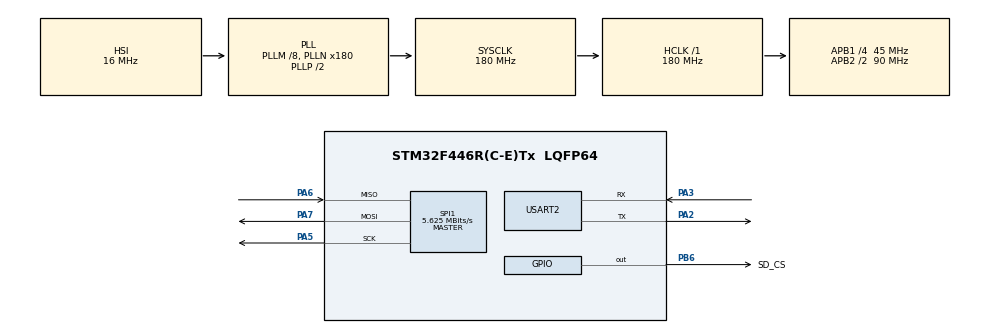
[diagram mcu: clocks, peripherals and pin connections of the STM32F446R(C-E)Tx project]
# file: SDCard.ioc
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FATFS._CODE_PAGE=949
FATFS._MAX_SS=4096
FATFS._USE_LFN=1
Mcu.Family=STM32F4
Mcu.Name=STM32F446R(C-E)Tx
Mcu.Package=LQFP64
NVIC.PriorityGroup=NVIC_PRIORITYGROUP_4
PA13.Mode=Serial_Wire
PA13.Signal=SYS_JTMS-SWDIO
PA14.Mode=Serial_Wire
PA14.Signal=SYS_JTCK-SWCLK
PA2.Mode=Asynchronous
PA2.Signal=USART2_TX
PA3.Mode=Asynchronous
PA3.Signal=USART2_RX
PA5.GPIO_PuPd=GPIO_NOPULL
PA5.Mode=Full_Duplex_Master
PA5.Signal=SPI1_SCK
PA6.GPIO_PuPd=GPIO_NOPULL
PA6.Mode=Full_Duplex_Master
PA6.Signal=SPI1_MISO
PA7.GPIO_PuPd=GPIO_NOPULL
PA7.Mode=Full_Duplex_Master
PA7.Signal=SPI1_MOSI
PB6.GPIO_Label=SD_CS
PB6.GPIO_PuPd=GPIO_NOPULL
PB6.PinState=GPIO_PIN_SET
PB6.Signal=GPIO_Output
PH0-OSC_IN.Mode=HSE-External-Oscillator
PH0-OSC_IN.Signal=RCC_OSC_IN
PH1-OSC_OUT.Mode=HSE-External-Oscillator
PH1-OSC_OUT.Signal=RCC_OSC_OUT
ProjectManager.HeapSize=0x200
ProjectManager.StackSize=0x400
ProjectManager.TargetToolchain=STM32CubeIDE
RCC.AHBFreq_Value=180000000
RCC.APB1CLKDivider=RCC_HCLK_DIV4
RCC.APB1Freq_Value=45000000
RCC.APB1TimFreq_Value=90000000
RCC.APB2CLKDivider=RCC_HCLK_DIV2
RCC.APB2Freq_Value=90000000
RCC.APB2TimFreq_Value=180000000
RCC.CortexFreq_Value=180000000
RCC.HCLKFreq_Value=180000000
RCC.HSE_VALUE=8000000
RCC.PLLM=8
RCC.PLLN=180
RCC.SYSCLKFreq_VALUE=180000000
RCC.SYSCLKSource=RCC_SYSCLKSOURCE_PLLCLK
RCC.USBFreq_Value=180000000
RCC.VCOOutputFreq_Value=360000000
SPI1.BaudRatePrescaler=SPI_BAUDRATEPRESCALER_16
SPI1.CalculateBaudRate=5.625 MBits/s
SPI1.Direction=SPI_DIRECTION_2LINES
SPI1.Mode=SPI_MODE_MASTER
SPI1.VirtualType=VM_MASTER
USART2.VirtualMode=VM_ASYNC
VP_FATFS_VS_Generic.Mode=User_defined
board=custom

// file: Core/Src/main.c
/* USER CODE BEGIN Header */
/**
  ******************************************************************************
  * @file           : main.c
  * @brief          : Main program body
  ******************************************************************************
  * @attention
  *
  * Copyright (c) 2022 STMicroelectronics.
  * All rights reserved.
  *
  * This software is licensed under terms that can be found in the LICENSE file
  * in the root directory of this software component.
  * If no LICENSE file comes with this software, it is provided AS-IS.
  *
  ******************************************************************************
  */
/* USER CODE END Header */
#include "main.h"
#include "fatfs.h"

/* USER CODE BEGIN Includes */
#include "string.h"
#include "stdio.h"
#include "stdarg.h"
#include "stdlib.h"
/* USER CODE END Includes */

 SPI_HandleTypeDef hspi1;

UART_HandleTypeDef huart2;

void SystemClock_Config(void);
static void MX_GPIO_Init(void);
static void MX_SPI1_Init(void);
static void MX_USART2_UART_Init(void);

/* USER CODE BEGIN 0 */
FATFS fs;  // file system
FIL fil; // File
FILINFO fno;
FRESULT fresult;  // result
UINT br, bw;  // File read/write count

/**** capacity related *****/
FATFS *pfs;
DWORD fre_clust;
uint32_t total, free_space;

#define BUFFER_SIZE 128
char buffer[BUFFER_SIZE];  // to store strings..

int i=0;

int bufsize (char *buf)
{
	int i=0;
	while (*buf++ != '\0') i++;
	return i;
}

void send_uart(const char* fmt, ...) {
    char buff[256];
    va_list args;
    va_start(args, fmt);
    vsnprintf(buff, sizeof(buff), fmt, args);
    HAL_UART_Transmit(&huart2, (uint8_t*)buff, strlen(buff), HAL_MAX_DELAY);
    va_end(args);
}
/* USER CODE END 0 */

int main(void)
{

  /* MCU Configuration--------------------------------------------------------*/

  /* Reset of all peripherals, Initializes the Flash interface and the Systick. */
  HAL_Init();

  /* Configure the system clock */
  SystemClock_Config();

  /* Initialize all configured peripherals */
  MX_GPIO_Init();
  MX_SPI1_Init();
  MX_USART2_UART_Init();
  MX_FATFS_Init();
  /* USER CODE BEGIN 2 */
	HAL_Delay(500);

	/* Mount SD Card */
	fresult = f_mount(&fs, "/", 1);
	if (fresult != FR_OK) {
		send_uart ("ERROR!!! in mounting SD CARD...\r\n");
		Error_Handler();
	}
	else send_uart("SD CARD mounted successfully...\r\n");

	/* Check free space */
	f_getfree("", &fre_clust, &pfs);

	total = (uint32_t)((pfs->n_fatent - 2) * pfs->csize * 0.5);
	send_uart("SD CARD Total Size: %lu\r\n", total);
	free_space = (uint32_t)(fre_clust * pfs->csize * 0.5);
	send_uart("SD CARD Free Space: %lu\r\n", free_space);

	/**************** The following operation is using f_write and f_read **************************/
	fresult = f_open(&fil, "file1.txt", FA_OPEN_APPEND | FA_WRITE);
	if (fresult == FR_OK)
		send_uart("file1.txt opened\r\n");
	else
	{
		send_uart("file open error!\r\n");
		Error_Handler();
	}

	/* Writing text */
	strcpy (buffer, "This is File1.txt\r\nHello World!");

	fresult = f_write(&fil, buffer, bufsize(buffer), &bw);
	if (fresult == FR_OK)
		send_uart ("Data is written into file1.txt\r\n");

	/* Close file */
	if (f_close(&fil) == FR_OK)
		send_uart("File closed\r\n");
	else
	{
		send_uart("File close error!\r\n");
		Error_Handler();
	}

	/* Open file to read */
	fresult = f_open(&fil, "file1.txt", FA_READ);
	if (fresult == FR_OK)
		send_uart ("file1.txt is open and the data is shown below\r\n");
	else
	{
		send_uart("file read error!\r\n");
		Error_Handler();
	}

	/* Read data from the file
	 * Please see the function details for the arguments */
	f_read (&fil, buffer, f_size(&fil), &br);
	send_uart("%s\r\n", buffer);

	/* Close file */
	f_close(&fil);

	/* Unmount SDCARD */
	fresult = f_mount(NULL, "/", 1);
	if (fresult == FR_OK) send_uart ("SD CARD UNMOUNTED successfully...\r\n");
  /* USER CODE END 2 */

  /* Infinite loop */
  while (1)
  {

  }
}

void SystemClock_Config(void)
{
  RCC_OscInitTypeDef RCC_OscInitStruct = {0};
  RCC_ClkInitTypeDef RCC_ClkInitStruct = {0};

  /** Configure the main internal regulator output voltage
  */
  __HAL_RCC_PWR_CLK_ENABLE();
  __HAL_PWR_VOLTAGESCALING_CONFIG(PWR_REGULATOR_VOLTAGE_SCALE1);

  /** Initializes the RCC Oscillators according to the specified parameters
  * in the RCC_OscInitTypeDef structure.
  */
  RCC_OscInitStruct.OscillatorType = RCC_OSCILLATORTYPE_HSI;
  RCC_OscInitStruct.HSIState = RCC_HSI_ON;
  RCC_OscInitStruct.HSICalibrationValue = RCC_HSICALIBRATION_DEFAULT;
  RCC_OscInitStruct.PLL.PLLState = RCC_PLL_ON;
  RCC_OscInitStruct.PLL.PLLSource = RCC_PLLSOURCE_HSI;
  RCC_OscInitStruct.PLL.PLLM = 8;
  RCC_OscInitStruct.PLL.PLLN = 180;
  RCC_OscInitStruct.PLL.PLLP = RCC_PLLP_DIV2;
  RCC_OscInitStruct.PLL.PLLQ = 2;
  RCC_OscInitStruct.PLL.PLLR = 2;
  if (HAL_RCC_OscConfig(&RCC_OscInitStruct) != HAL_OK)
  {
    Error_Handler();
  }

  /** Activate the Over-Drive mode
  */
  if (HAL_PWREx_EnableOverDrive() != HAL_OK)
  {
    Error_Handler();
  }

  /** Initializes the CPU, AHB and APB buses clocks
  */
  RCC_ClkInitStruct.ClockType = RCC_CLOCKTYPE_HCLK|RCC_CLOCKTYPE_SYSCLK
                              |RCC_CLOCKTYPE_PCLK1|RCC_CLOCKTYPE_PCLK2;
  RCC_ClkInitStruct.SYSCLKSource = RCC_SYSCLKSOURCE_PLLCLK;
  RCC_ClkInitStruct.AHBCLKDivider = RCC_SYSCLK_DIV1;
  RCC_ClkInitStruct.APB1CLKDivider = RCC_HCLK_DIV4;
  RCC_ClkInitStruct.APB2CLKDivider = RCC_HCLK_DIV2;

  if (HAL_RCC_ClockConfig(&RCC_ClkInitStruct, FLASH_LATENCY_5) != HAL_OK)
  {
    Error_Handler();
  }
}

static void MX_SPI1_Init(void)
{

  /* SPI1 parameter configuration*/
  hspi1.Instance = SPI1;
  hspi1.Init.Mode = SPI_MODE_MASTER;
  hspi1.Init.Direction = SPI_DIRECTION_2LINES;
  hspi1.Init.DataSize = SPI_DATASIZE_8BIT;
  hspi1.Init.CLKPolarity = SPI_POLARITY_LOW;
  hspi1.Init.CLKPhase = SPI_PHASE_1EDGE;
  hspi1.Init.NSS = SPI_NSS_SOFT;
  hspi1.Init.BaudRatePrescaler = SPI_BAUDRATEPRESCALER_16;
  hspi1.Init.FirstBit = SPI_FIRSTBIT_MSB;
  hspi1.Init.TIMode = SPI_TIMODE_DISABLE;
  hspi1.Init.CRCCalculation = SPI_CRCCALCULATION_DISABLE;
  hspi1.Init.CRCPolynomial = 10;
  if (HAL_SPI_Init(&hspi1) != HAL_OK)
  {
    Error_Handler();
  }

}

static void MX_USART2_UART_Init(void)
{

  huart2.Instance = USART2;
  huart2.Init.BaudRate = 115200;
  huart2.Init.WordLength = UART_WORDLENGTH_8B;
  huart2.Init.StopBits = UART_STOPBITS_1;
  huart2.Init.Parity = UART_PARITY_NONE;
  huart2.Init.Mode = UART_MODE_TX_RX;
  huart2.Init.HwFlowCtl = UART_HWCONTROL_NONE;
  huart2.Init.OverSampling = UART_OVERSAMPLING_16;
  if (HAL_UART_Init(&huart2) != HAL_OK)
  {
    Error_Handler();
  }

}

static void MX_GPIO_Init(void)
{
  GPIO_InitTypeDef GPIO_InitStruct = {0};

  /* GPIO Ports Clock Enable */
  __HAL_RCC_GPIOH_CLK_ENABLE();
  __HAL_RCC_GPIOA_CLK_ENABLE();
  __HAL_RCC_GPIOB_CLK_ENABLE();

  /*Configure GPIO pin Output Level */
  HAL_GPIO_WritePin(SD_CS_GPIO_Port, SD_CS_Pin, GPIO_PIN_SET);

  /*Configure GPIO pin : SD_CS_Pin */
  GPIO_InitStruct.Pin = SD_CS_Pin;
  GPIO_InitStruct.Mode = GPIO_MODE_OUTPUT_PP;
  GPIO_InitStruct.Pull = GPIO_NOPULL;
  GPIO_InitStruct.Speed = GPIO_SPEED_FREQ_LOW;
  HAL_GPIO_Init(SD_CS_GPIO_Port, &GPIO_InitStruct);

}

void Error_Handler(void)
{
  __disable_irq();
  while (1)
  {
  }
}
